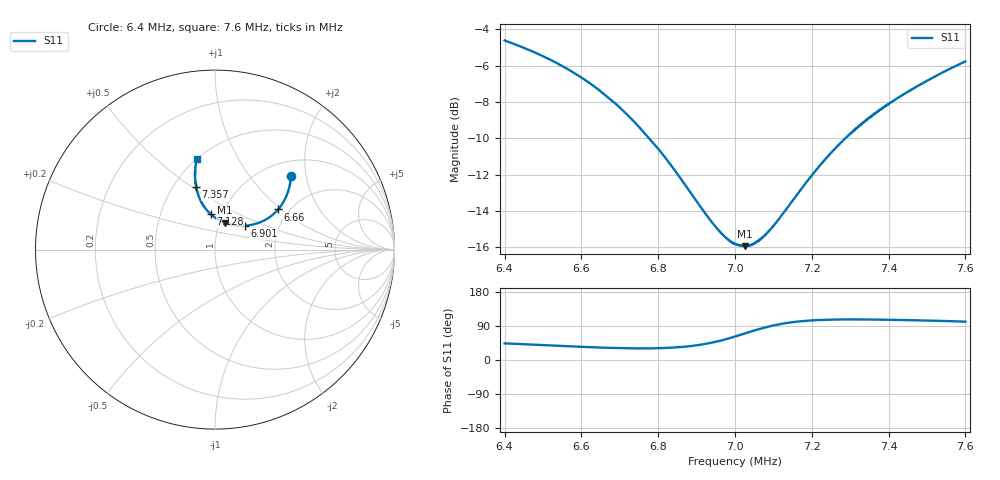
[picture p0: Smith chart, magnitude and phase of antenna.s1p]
! Calibrated high-resolution NanoVNA antenna measurement
# Hz S RI R 50
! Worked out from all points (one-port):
!   2401 points, 6.4 MHz to 7.6 MHz, reference 50 ohm
!   lowest |S11| = -15.9 dB at 7.025 MHz (marker M1), VSWR 1.38, Z = 53.2 + j16.4 ohm
!   |S11| at or under -10 dB: 6.776 MHz to 7.287 MHz (511.3 kHz wide, 7.27 % of centre)
!   S11 on the Smith chart (normalised r, x): 6.4 MHz: 1.31, +1.64; 6.66 MHz: 1.76, +0.95; 6.901 MHz: 1.33, +0.37; 7.128 MHz: 0.89, +0.36; 7.357 MHz: 0.64, +0.52; 7.6 MHz: 0.50, +0.69
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6400000  0.4235 0.4075
6476500  0.4156 0.354
6550000  0.3989 0.3013
6611500  0.3764 0.2576
6660000  0.3521 0.2235
6700000  0.3284 0.1999
6743000  0.2979 0.1761
6792000  0.2597 0.1555
6850000  0.2101 0.1393
6901000  0.1645 0.1327
6935500  0.1333 0.133
6959500  0.1117 0.1353
6983500  0.0904 0.1391
7000000  0.0762 0.1428
7025000  0.0551 0.1497
7044500  0.0388 0.1564
7067000  0.0212 0.1657
7095500  -5.69e-05 0.1792
7128000  -0.0226 0.1967
7150000  -0.0363 0.2099
7190500  -0.0577 0.2358
7225500  -0.0728 0.2592
7260000  -0.0848 0.2833
7300000  -0.0959 0.3109
7357500  -0.1052 0.35
7450000  -0.1113 0.4096
7524000  -0.1093 0.457
7600000  -0.0997 0.5048
